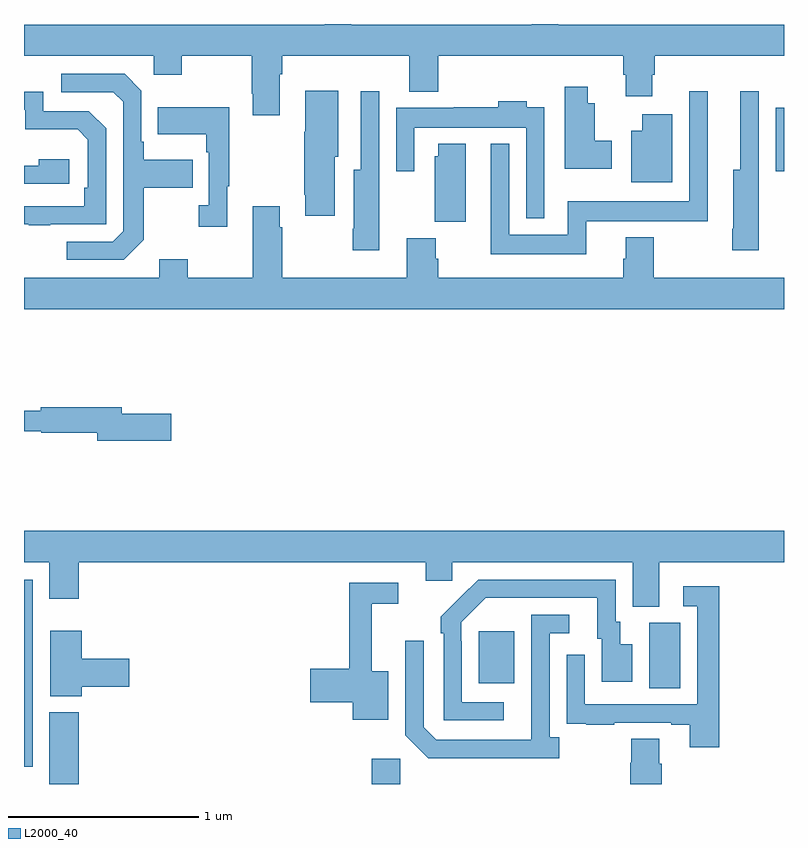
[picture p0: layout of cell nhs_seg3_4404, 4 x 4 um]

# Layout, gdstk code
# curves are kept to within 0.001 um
import gdstk
lib = gdstk.Library(unit=1e-6, precision=1e-09)
def R(c, l, rs):  # rectangles x0, y0, x1, y1
    for r in rs: c.add(gdstk.rectangle(r[:2], r[2:], *l))
def P(c, l, *ps):  # polygons
    for p in ps: c.add(gdstk.Polygon(p, *l))
L2000_40 = (2000, 40)

nhs_seg3_4404 = lib.new_cell('nhs_seg3_4404')
R(nhs_seg3_4404, L2000_40, [(345.134,714.4,345.287,714.778), (346.829,714.4,346.98,714.532), (345,714.492,345.045,715.476), (348.29,714.904,348.454,715.248), (347.393,714.929,347.581,715.204), (348.957,717.624,349,717.958)])
P(nhs_seg3_4404, L2000_40, [(346.345,718.136),(346.358,718.136),(346.358,718.232),(347.027,718.232),(347.027,718.043),(347.18,718.043),(347.18,718.232),(348.155,718.232),(348.155,718.134),(348.167,718.134),(348.167,718.02),(348.307,718.02),(348.307,718.134),(348.32,718.134),(348.32,718.232),(349,718.232),(349,718.396),(347.812,718.396),(347.812,718.4),(347.673,718.4),(347.673,718.396),(346.723,718.396),(346.723,718.4),(346.583,718.4),(346.583,718.396),(345,718.396),(345,718.232),(345.684,718.232),(345.684,718.133),(345.831,718.133),(345.831,718.232),(346.198,718.232),(346.198,718.033),(346.205,718.033),(346.205,717.921),(346.345,717.921)],
  [(345.631,717.265),(345.631,717.538),(345.887,717.538),(345.887,717.685),(345.631,717.685),(345.631,717.781),(345.618,717.781),(345.618,718.05),(345.531,718.137),(345.195,718.137),(345.195,718.041),(345.471,718.041),(345.522,717.99),(345.522,717.309),(345.468,717.255),(345.225,717.255),(345.225,717.159),(345.525,717.159)],
  [(348.094,717.786),(348.004,717.786),(348.004,717.982),(347.968,717.982),(347.968,718.069),(347.846,718.069),(347.846,717.638),(348.094,717.638)],
  [(346.636,717.702),(346.654,717.702),(346.654,718.048),(346.481,718.048),(346.481,717.833),(346.474,717.833),(346.474,717.502),(346.481,717.502),(346.481,717.39),(346.636,717.39)],
  [(347.96,717.362),(348.598,717.362),(348.598,718.045),(348.501,718.045),(348.501,717.466),(347.862,717.466),(347.862,717.292),(347.553,717.292),(347.553,717.769),(347.456,717.769),(347.456,717.188),(347.96,717.188)],
  [(348.868,717.53),(348.867,717.53),(348.867,718.045),(348.77,718.045),(348.77,717.634),(348.734,717.634),(348.734,717.322),(348.727,717.322),(348.727,717.21),(348.868,717.21)],
  [(346.87,717.53),(346.869,717.53),(346.869,718.045),(346.773,718.045),(346.773,717.634),(346.736,717.634),(346.736,717.322),(346.729,717.322),(346.729,717.21),(346.87,717.21)],
  [(345.137,717.345),(345.432,717.345),(345.432,717.852),(345.342,717.942),(345.102,717.942),(345.102,718.044),(345,718.044),(345,717.948),(345.006,717.948),(345.006,717.845),(345.283,717.845),(345.336,717.792),(345.336,717.538),(345.316,717.538),(345.316,717.441),(345,717.441),(345,717.345),(345.025,717.345),(345.025,717.34),(345.137,717.34)],
  [(347.739,717.961),(347.647,717.961),(347.647,717.994),(347.495,717.994),(347.495,717.961),(347.263,717.961),(347.263,717.958),(346.959,717.958),(346.959,717.624),(347.055,717.624),(347.055,717.854),(347.643,717.854),(347.643,717.377),(347.739,717.377)],
  [(346.069,717.545),(346.081,717.545),(346.081,717.961),(345.703,717.961),(345.703,717.821),(345.96,717.821),(345.96,717.725),(345.972,717.725),(345.972,717.446),(345.921,717.446),(345.921,717.333),(346.069,717.333)],
  [(348.412,717.925),(348.254,717.925),(348.254,717.838),(348.197,717.838),(348.197,717.566),(348.412,717.566)],
  [(347.326,717.769),(347.18,717.769),(347.18,717.705),(347.162,717.705),(347.162,717.358),(347.326,717.358)],
  [(345.238,717.688),(345.077,717.688),(345.077,717.654),(345,717.654),(345,717.558),(345.238,717.558)],
  [(349,717.064),(348.315,717.064),(348.315,717.277),(348.167,717.277),(348.167,717.165),(348.155,717.165),(348.155,717.064),(347.18,717.064),(347.18,717.164),(347.167,717.164),(347.167,717.273),(347.015,717.273),(347.015,717.064),(346.358,717.064),(346.358,717.329),(346.345,717.329),(346.345,717.442),(346.205,717.442),(346.205,717.064),(345.861,717.064),(345.861,717.163),(345.713,717.163),(345.713,717.064),(345,717.064),(345,716.9),(349,716.9)],
  [(345.775,716.348),(345.514,716.348),(345.514,716.384),(345.088,716.384),(345.088,716.365),(345,716.365),(345,716.256),(345.09,716.256),(345.09,716.248),(345.386,716.248),(345.386,716.206),(345.775,716.206)],
  [(348.343,715.568),(349,715.568),(349,715.732),(345,715.732),(345,715.568),(345.134,715.568),(345.134,715.374),(345.287,715.374),(345.287,715.568),(347.114,715.568),(347.114,715.47),(347.253,715.47),(347.253,715.568),(348.203,715.568),(348.203,715.333),(348.343,715.333)],
  [(347.524,714.831),(347.304,714.831),(347.304,715.151),(347.301,715.151),(347.301,715.251),(347.43,715.38),(348.017,715.38),(348.017,715.164),(348.041,715.164),(348.041,714.939),(348.202,714.939),(348.202,715.135),(348.139,715.135),(348.139,715.254),(348.114,715.254),(348.114,715.476),(347.39,715.476),(347.193,715.281),(347.193,715.193),(347.208,715.193),(347.208,714.735),(347.524,714.735)],
  [(346.918,714.994),(346.829,714.994),(346.829,715.35),(346.969,715.35),(346.969,715.458),(346.711,715.458),(346.711,715.007),(346.506,715.007),(346.506,714.829),(346.73,714.829),(346.73,714.737),(346.918,714.737)],
  [(348.659,715.441),(348.471,715.441),(348.471,715.335),(348.543,715.335),(348.543,714.819),(347.952,714.819),(347.952,715.081),(347.856,715.081),(347.856,714.826),(347.857,714.826),(347.857,714.717),(347.959,714.717),(347.959,714.711),(348.107,714.711),(348.107,714.723),(348.407,714.723),(348.407,714.711),(348.503,714.711),(348.503,714.594),(348.659,714.594)],
  [(347.818,714.646),(347.766,714.646),(347.766,715.194),(347.869,715.194),(347.869,715.29),(347.67,715.29),(347.669,714.633),(347.169,714.633),(347.103,714.699),(347.103,715.153),(347.007,715.153),(347.007,714.657),(347.128,714.536),(347.818,714.536)],
  [(345.304,714.911),(345.553,714.911),(345.553,715.058),(345.304,715.058),(345.304,715.207),(345.137,715.207),(345.137,714.863),(345.304,714.863)],
  [(348.356,714.506),(348.343,714.506),(348.343,714.638),(348.196,714.638),(348.196,714.513),(348.191,714.513),(348.191,714.4),(348.356,714.4)])

lib.write_gds('nhs_seg3_4404.gds')
